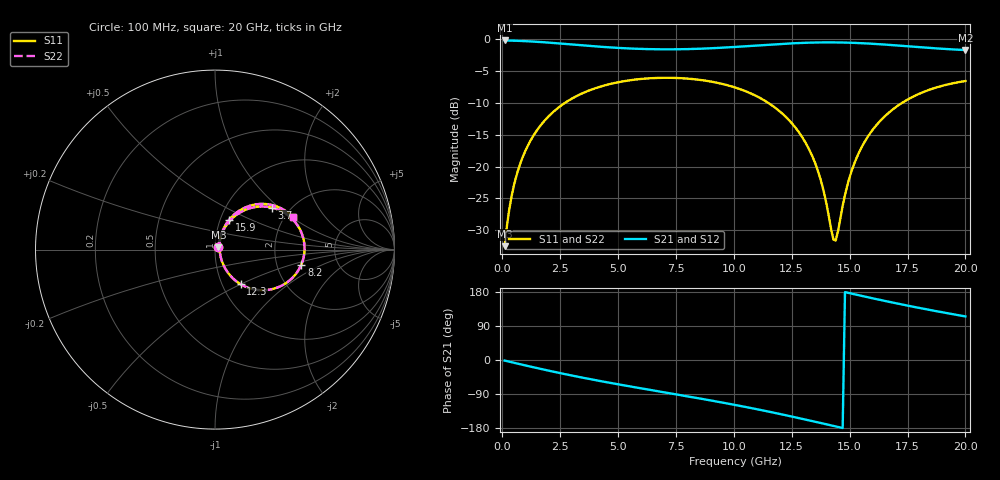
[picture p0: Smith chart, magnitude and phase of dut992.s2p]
! Touchstone file exported from HFSS 2026.1.0
!  File:  C:/ffzhzh/LocalFiles/Ansys_Project_Files/temp_train_TSV_RDL_992_1783288938_38820.aedt
!  Generated:  06:10:46 AM Jul  6, 2026
!  Design:  TSV_RDL
!  Project:  temp_train_TSV_RDL_992_1783288938_38820
! Variables:
!  h_bsmrdl = 4.93um
!  h_ox = 20um
!  h_rdl = 5um
!  h_sub = 58.28um
!  h_tmrdl = 5.69um
!  h_tsv = 58.28um
!  h_via = 3um
!  l_bsmrdl = 244.01um
!  l_sub = 4220.79um
!  l_tmrdl = 753.05um
!  m_sub = 200um
!  pitch = 36.47um
!  r_tsv = 9.98um
!  s_tmrdl = 10um
!  w_bsmrdl = 11.41um
!  w_sub = 500um
!  w_tmrdl = 14.11um
!  x_tsv_center1 = 760.105um
!  x_tsv_center2 = 1015.525um
!  x_tsv_center3 = 1782.685um
!  x_tsv_center4 = 2038.105um
!  x_tsv_center5 = 2805.265um
!  x_tsv_center6 = 3060.685um
# GHz S MA R 50.000000
! Terminal data exported
! Port[1] = TM_RDL1_1_T1
! Port[2] = TM_RDL5_1_T1
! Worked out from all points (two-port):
!   200 points, 100 MHz to 20 GHz, reference 50 ohm
!   highest |S21| = -0.17 dB at 100 MHz (marker M1); lowest = -1.7 dB at 20 GHz (marker M2)
!   |S21| within 3 dB of the highest: start of sweep to end of sweep
!   lowest |S11| = -32.5 dB at 100 MHz (marker M3), VSWR 1.05, Z = 51.9 + j1.42 ohm
!   |S11| at or under -10 dB: start of sweep to 2.701 GHz; 11.5 GHz to 17.26 GHz (5.764 GHz wide, 40.1 % of centre)
!   |S22| runs from -32.5 to -6.0 dB; largest |S21 - S12| = 3.4e-14
!   S11 on the Smith chart (normalised r, x): 100 MHz: 1.04, +0.03; 3.7 GHz: 1.62, +0.90; 8.2 GHz: 2.76, -0.60; 12.3 GHz: 1.22, -0.50; 15.9 GHz: 1.10, +0.38; 20 GHz: 2.22, +1.02
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0.1  0.02366 35.4  0.981 -1.5  0.981 -1.5  0.02366 35.4
! Gamma 0 0 0 0
! Port Impedance 50 0 50 0
0.3  0.04593 59.7  0.9791 -4.4  0.9791 -4.4  0.04593 59.7
0.5  0.07078 65.6  0.9769 -7.3  0.9769 -7.3  0.07078 65.6
1.1  0.1456 65.2  0.9669 -15.8  0.9669 -15.8  0.1456 65.2
2.1  0.2586 55.0  0.9407 -29.4  0.9407 -29.4  0.2586 55.0
3.5  0.3797 38.8  0.8965 -47.0  0.8965 -47.0  0.3797 38.8
3.7  0.3933 36.5  0.8904 -49.4  0.8904 -49.4  0.3933 36.5
5.3  0.4707 19.4  0.8517 -67.4  0.8517 -67.4  0.4708 19.4
6.8  0.4983 4.2  0.8358 -83.3  0.8358 -83.3  0.4983 4.2
8.2  0.4881 -9.8  0.8407 -98.1  0.8407 -98.1  0.4881 -9.9
10.1  0.4162 -29.6  0.8735 -119.1  0.8735 -119.1  0.4162 -29.6
12.3  0.2402 -53.4  0.9267 -146.5  0.9267 -146.5  0.2402 -53.5
13.4  0.1192 -61.5  0.944 -161.4  0.944 -161.4  0.1192 -61.7
13.8  0.07307 -58.8  0.9468 -167.0  0.9468 -167.0  0.07301 -59.0
14.3  0.02669 -11.7  0.9472 -173.9  0.9472 -173.9  0.02642 -12.0
14.4  0.02621 13.8  0.9468 -175.3  0.9468 -175.3  0.02591 13.8
15  0.08239 66.3  0.9418 176.3  0.9418 176.3  0.08225 66.5
15.4  0.1283 67.6  0.9358 170.8  0.9358 170.8  0.1282 67.7
15.9  0.1842 64.6  0.9259 164.1  0.9259 164.1  0.1841 64.6
16.7  0.266 56.9  0.9058 153.6  0.9058 153.6  0.266 56.9
18.2  0.3864 40.9  0.8637 135.1  0.8637 135.1  0.3864 40.9
20  0.4704 22.4  0.8247 115.0  0.8247 115.0  0.4704 22.4
